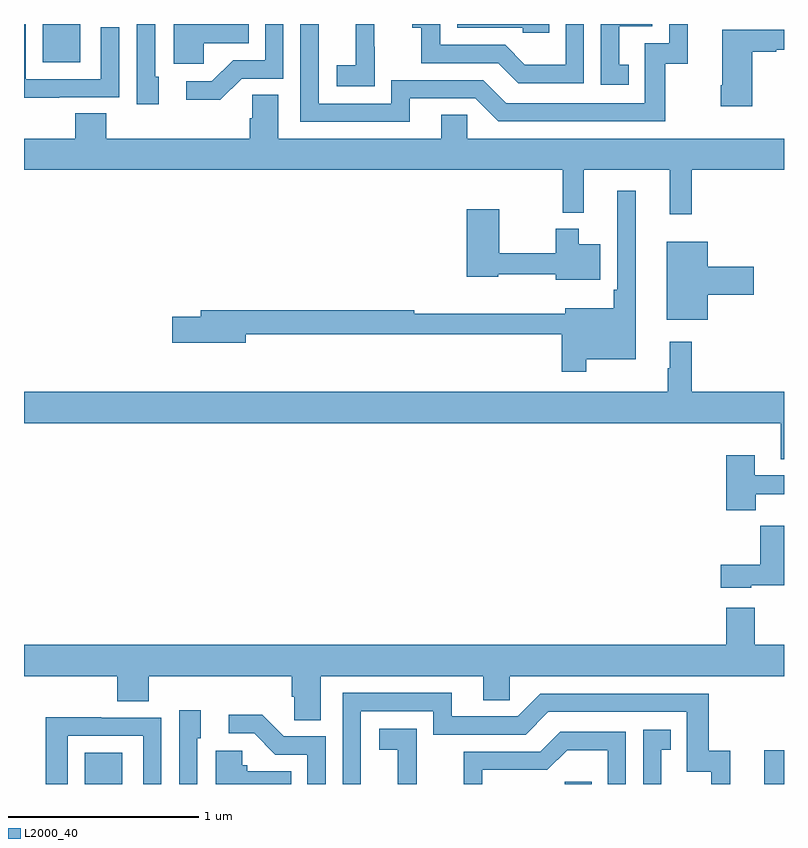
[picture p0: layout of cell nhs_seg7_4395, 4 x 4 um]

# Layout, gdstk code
import gdstk
lib = gdstk.Library(unit=1e-6, precision=1e-09)
def R(c, l, rs):  # rectangles x0, y0, x1, y1
    for r in rs: c.add(gdstk.rectangle(r[:2], r[2:], *l))
def P(c, l, *ps):  # polygons
    for p in ps: c.add(gdstk.Polygon(p, *l))
L2000_40 = (2000, 40)

nhs_seg7_4395 = lib.new_cell('nhs_seg7_4395')
R(nhs_seg7_4395, L2000_40, [(387.32,1048,387.517,1048.165), (389.847,1048,389.987,1048.011), (390.896,1048,391,1048.177), (387.098,1051.799,387.295,1052)])
P(nhs_seg7_4395, L2000_40, [(389.765,1052),(389.28,1052),(389.28,1051.98),(389.625,1051.98),(389.625,1051.953),(389.765,1051.953)],
  [(389.946,1052),(389.85,1052),(389.85,1051.786),(389.636,1051.786),(389.532,1051.89),(389.19,1051.89),(389.19,1052),(389.043,1052),(389.043,1051.979),(389.092,1051.979),(389.092,1051.794),(389.495,1051.794),(389.6,1051.689),(389.946,1051.689)],
  [(390.182,1051.785),(390.133,1051.785),(390.133,1051.989),(390.306,1051.989),(390.306,1052),(390.036,1052),(390.036,1051.68),(390.182,1051.68)],
  [(387.945,1051.898),(388.184,1051.898),(388.184,1052),(387.788,1052),(387.788,1051.79),(387.945,1051.79)],
  [(387.185,1051.614),(387.501,1051.614),(387.501,1051.984),(387.405,1051.984),(387.405,1051.71),(387.009,1051.71),(387.009,1052),(387,1052),(387,1051.613),(387.185,1051.613)],
  [(388.146,1051.713),(388.365,1051.713),(388.365,1052),(388.269,1052),(388.269,1051.809),(388.1,1051.809),(387.989,1051.698),(387.855,1051.698),(387.855,1051.601),(388.033,1051.601)],
  [(389.029,1051.608),(389.376,1051.608),(389.496,1051.488),(390.376,1051.488),(390.376,1051.791),(390.494,1051.791),(390.494,1052),(390.396,1052),(390.396,1051.899),(390.267,1051.899),(390.267,1051.584),(389.538,1051.584),(389.418,1051.704),(388.932,1051.704),(388.932,1051.581),(388.551,1051.581),(388.551,1052),(388.455,1052),(388.455,1051.485),(389.029,1051.485)],
  [(387.709,1051.722),(387.69,1051.722),(387.69,1052),(387.594,1052),(387.594,1051.578),(387.709,1051.578)],
  [(388.845,1051.879),(388.844,1051.879),(388.844,1052),(388.745,1052),(388.745,1051.783),(388.647,1051.783),(388.647,1051.673),(388.845,1051.673)],
  [(390.832,1051.855),(390.959,1051.855),(390.959,1051.865),(391,1051.865),(391,1051.969),(390.674,1051.969),(390.674,1051.678),(390.667,1051.678),(390.667,1051.566),(390.832,1051.566)],
  [(390.515,1051.232),(391,1051.232),(391,1051.396),(389.334,1051.396),(389.334,1051.523),(389.195,1051.523),(389.195,1051.396),(388.339,1051.396),(388.339,1051.628),(388.2,1051.628),(388.2,1051.505),(388.187,1051.505),(388.187,1051.396),(387.434,1051.396),(387.434,1051.529),(387.269,1051.529),(387.269,1051.396),(387,1051.396),(387,1051.232),(389.835,1051.232),(389.835,1051.007),(389.945,1051.007),(389.945,1051.232),(390.398,1051.232),(390.398,1050.999),(390.515,1050.999)],
  [(389.959,1050.236),(390.22,1050.236),(390.22,1051.123),(390.123,1051.123),(390.123,1050.601),(390.103,1050.601),(390.103,1050.505),(389.849,1050.505),(389.849,1050.476),(389.053,1050.476),(389.053,1050.494),(387.929,1050.494),(387.929,1050.458),(387.78,1050.458),(387.78,1050.323),(388.168,1050.323),(388.168,1050.366),(389.83,1050.366),(389.83,1050.171),(389.959,1050.171)],
  [(390.034,1050.841),(389.92,1050.841),(389.92,1050.922),(389.798,1050.922),(389.798,1050.793),(389.5,1050.793),(389.5,1051.024),(389.33,1051.024),(389.33,1050.671),(389.496,1050.671),(389.496,1050.683),(389.798,1050.683),(389.798,1050.653),(390.034,1050.653)],
  [(390.598,1050.575),(390.841,1050.575),(390.841,1050.722),(390.598,1050.722),(390.598,1050.853),(390.383,1050.853),(390.383,1050.443),(390.598,1050.443)],
  [(391,1050.064),(390.515,1050.064),(390.515,1050.328),(390.398,1050.328),(390.398,1050.188),(390.387,1050.188),(390.387,1050.064),(387,1050.064),(387,1049.9),(390.983,1049.9),(390.983,1049.71),(391,1049.71)],
  [(390.85,1049.526),(391,1049.526),(391,1049.625),(390.847,1049.625),(390.847,1049.731),(390.695,1049.731),(390.695,1049.441),(390.85,1049.441)],
  [(390.828,1049.045),(391,1049.045),(391,1049.359),(390.874,1049.359),(390.874,1049.155),(390.666,1049.155),(390.666,1049.033),(390.828,1049.033)],
  [(388.561,1048.568),(389.417,1048.568),(389.417,1048.441),(389.556,1048.441),(389.556,1048.568),(391,1048.568),(391,1048.732),(390.847,1048.732),(390.847,1048.927),(390.695,1048.927),(390.695,1048.732),(387,1048.732),(387,1048.568),(387.491,1048.568),(387.491,1048.435),(387.656,1048.435),(387.656,1048.568),(388.409,1048.568),(388.409,1048.459),(388.422,1048.459),(388.422,1048.336),(388.561,1048.336)],
  [(388.773,1048.383),(389.154,1048.383),(389.154,1048.26),(389.64,1048.26),(389.76,1048.38),(390.489,1048.38),(390.489,1048.065),(390.618,1048.065),(390.618,1048),(390.716,1048),(390.716,1048.174),(390.605,1048.174),(390.605,1048.476),(389.718,1048.476),(389.598,1048.356),(389.251,1048.356),(389.251,1048.479),(388.677,1048.479),(388.677,1048),(388.773,1048)],
  [(387.912,1048.242),(387.931,1048.242),(387.931,1048.387),(387.816,1048.387),(387.816,1048),(387.912,1048)],
  [(388.587,1048.251),(388.368,1048.251),(388.255,1048.364),(388.077,1048.364),(388.077,1048.266),(388.211,1048.266),(388.322,1048.155),(388.491,1048.155),(388.491,1048),(388.587,1048)],
  [(387.231,1048.254),(387.627,1048.254),(387.627,1048),(387.723,1048),(387.723,1048.35),(387.407,1048.35),(387.407,1048.352),(387.115,1048.352),(387.115,1048),(387.231,1048)],
  [(389.066,1048.085),(389.067,1048.085),(389.067,1048.291),(388.869,1048.291),(388.869,1048.181),(388.967,1048.181),(388.967,1048),(389.066,1048)],
  [(390.355,1048.179),(390.404,1048.179),(390.404,1048.285),(390.258,1048.285),(390.258,1048),(390.355,1048)],
  [(389.412,1048.074),(389.754,1048.074),(389.858,1048.178),(390.072,1048.178),(390.072,1048),(390.168,1048),(390.168,1048.275),(389.822,1048.275),(389.717,1048.17),(389.314,1048.17),(389.314,1048),(389.412,1048)],
  [(388.406,1048.066),(388.176,1048.066),(388.176,1048.098),(388.149,1048.098),(388.149,1048.174),(388.01,1048.174),(388.01,1048),(388.406,1048)])

lib.write_gds('nhs_seg7_4395.gds')
